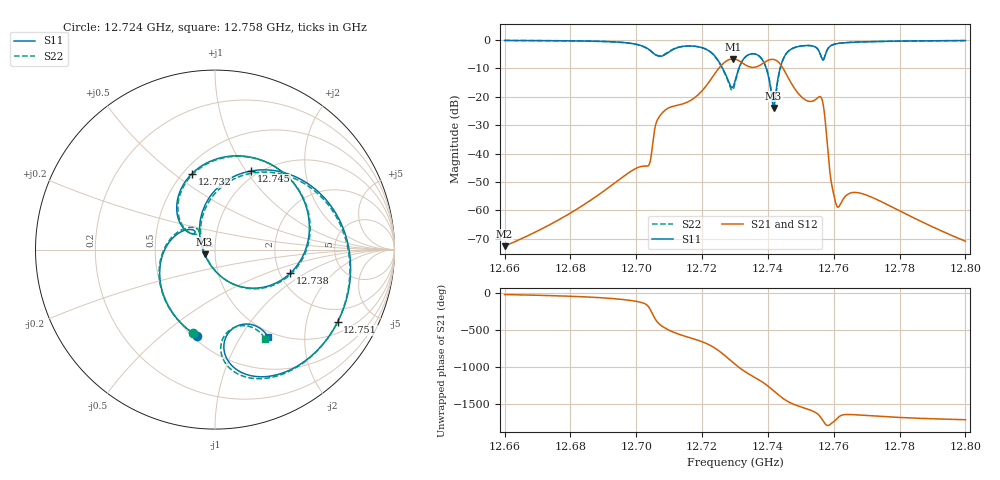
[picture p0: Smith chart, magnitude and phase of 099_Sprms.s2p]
! TOUCHSTONE file generated by CST MICROWAVE STUDIO
! Date and time: Wed Jul 31 15:44:45 2024
! Project name: WaveGuide_BPF-Ver4.1_U-shape_Ku_T3_C4_CWA_2.cst
! Parameters = {cavity_h=16; cavity_l0=10; cavity_l1=15.186; cavity_l2=16.8614; cavity_l3=17.1147; cavity_l4=17.2388; cavity_l5=17.0902; cavity_l6=17.623; cavity_r=2.5; cavity_screw_l=0.5; cavity_screw_r=1.5; cavity_w=8; iris_h00=0; iris_h01=8.8156; iris_h112=0; iris_h12=5.5864; iris_h211=3.6544; ir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
! Header version: 2018
! Port assignment regex: !\s*Touchstone port\s*([0-9]+)\s*=\s*(CST MWS port|CST DS port)\s*([0-9]+|Zmin|Zmax)\s*\(\"(.*)\"\)(\s*mode\s*([0-9]+))?.*
! Touchstone port assignment:
! Touchstone port 1 = CST MWS port 1 ("")
! Touchstone port 2 = CST MWS port 2 ("")
# GHz S RI R 50
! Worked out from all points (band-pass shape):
!   5001 points, 12.66 GHz to 12.8 GHz, reference 50 ohm
!   highest |S21| = -6.63 dB at 12.729 GHz (marker M1); lowest = -72.6 dB at 12.66 GHz (marker M2)
!   |S21| within 3 dB of the highest: 12.7253 GHz to 12.73533 GHz (10.02 MHz wide, 0.0787 % of centre); 12.73556 GHz to 12.74442 GHz (8.861 MHz wide, 0.0696 % of centre)
!   lowest |S11| = -23.9 dB at 12.742 GHz (marker M3), VSWR 1.14, Z = 44.4 - j2.28 ohm
!   |S11| at or under -10 dB: 12.72625 GHz to 12.73116 GHz (4.91 MHz wide, 0.0386 % of centre); 12.73949 GHz to 12.7437 GHz (4.21 MHz wide, 0.033 % of centre)
!   |S22| runs from -24.3 to -0.1 dB; largest |S21 - S12| = 1e-09
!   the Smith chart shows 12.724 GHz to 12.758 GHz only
!   S11 on the Smith chart (normalised r, x): 12.724 GHz: 0.53, -0.66; 12.732 GHz: 0.55, +0.58; 12.738 GHz: 2.28, -0.74; 12.745 GHz: 0.93, +1.06; 12.751 GHz: 1.41, -3.07; 12.758 GHz: 0.93, -1.32
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12.66  0.2535 0.9498  0.000221 -7.65e-05  0.000221 -7.65e-05  0.2596 0.9481
12.68335  0.647 0.7126  0.00078 -0.000884  0.00078 -0.000884  0.6557 0.704
12.69934  0.8472 -0.1278  -0.00151 -0.00504  -0.00151 -0.00504  0.8368 -0.1615
12.70379  0.3388 -0.5976  -0.00615 0.000847  -0.00615 0.000847  0.2882 -0.6149
12.70668  -0.3397 -0.4001  0.0295 -0.0294  0.0295 -0.0294  -0.3821 -0.366
12.709  -0.5038 0.2576  -0.0296 -0.0517  -0.0296 -0.0517  -0.5009 0.293
12.7125  0.1364 0.7209  -0.0696 0.0129  -0.0696 0.0129  0.1454 0.7243
12.71883  0.7617 -0.00438  0.0194 0.1072  0.0194 0.1072  0.76 -0.0102
12.72426  -0.1028 -0.4791  0.2225 -0.1618  0.2225 -0.1618  -0.1236 -0.4654
12.72672  -0.279 0.00191  -0.1957 -0.349  -0.1957 -0.349  -0.2691 0.0306
12.72936  -0.1193 0.0894  -0.3611 0.2945  -0.3611 0.2945  -0.1014 0.0859
12.73  -0.1579 0.1023  -0.2051 0.4132  -0.2051 0.4132  -0.1457 0.0964
12.73235  -0.1294 0.4221  0.3166 0.2272  0.3166 0.2272  -0.1227 0.4212
12.7384  0.4204 -0.1306  -0.2344 -0.3059  -0.2344 -0.3059  0.4246 -0.1341
12.74173  -0.0582 -0.0255  -0.2051 0.4057  -0.2051 0.4057  -0.0513 -0.0343
12.74478  0.2018 0.4383  0.3019 0.0352  0.3019 0.0352  0.2163 0.4279
12.75086  0.6834 -0.4034  -0.0394 -0.0836  -0.0394 -0.0836  0.6678 -0.431
12.75335  0.4178 -0.6706  -0.0748 -0.0362  -0.0748 -0.0362  0.3935 -0.6871
12.75752  0.2951 -0.485  0.0301 0.0115  0.0301 0.0115  0.28 -0.4994
12.76105  0.0164 -0.8654  -0.00021 0.00114  -0.00021 0.00114  -0.0104 -0.8674
12.77668  -0.8365 -0.451  -0.000651 0.00104  -0.000651 0.00104  -0.8444 -0.4377
12.8  -0.9646 0.1582  3.1e-05 0.000284  3.1e-05 0.000284  -0.9635 0.1665
